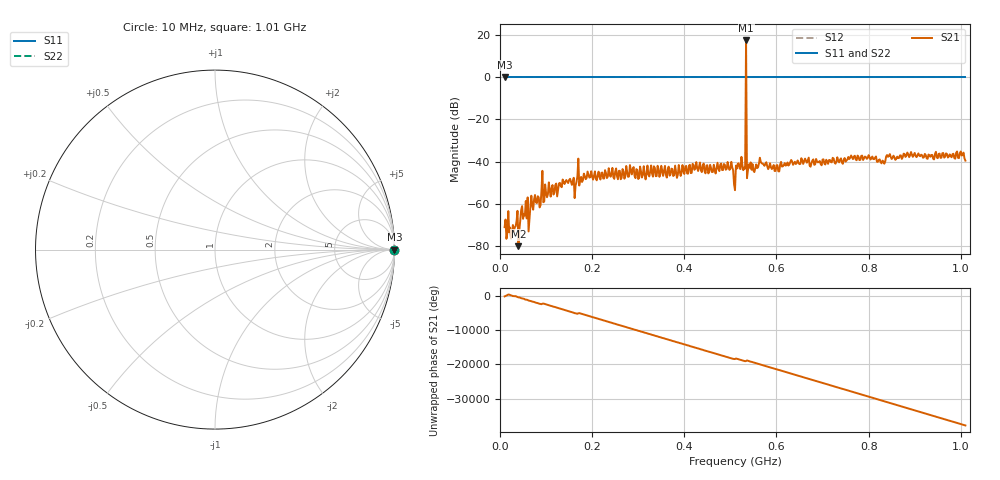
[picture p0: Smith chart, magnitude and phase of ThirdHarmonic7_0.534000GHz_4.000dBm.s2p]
! 8/17/2025 3:57:27 PM
! C:\ANRITSUVNA\TEMP\TEMP.S2P
! CHANNEL.1
! TR.MEASUREMENT
! RAW.DATA
! RF.CORRECTION.OFF
! AVERAGING.OFF
! IF.BANDWIDTH: 5KHZ
! SWEEPTYPE:  FREQ.SWEEP(Linear)
! Reference Plane Port Info
! PORT:  PORT1  PORT2
! DISTANCE:  0  m  0  m
! TIME:  0  s  0  s
! PHASE.OFFSET:  0  deg.  0  deg.
! LOSS:  0  dB  0  dB
! REF.LOSS:  0  dB  0  dB
! REF.FREQ:  0  Hz  0  Hz
! Power Info
! POWER:  -20  dBm  -20  dBm
! EFF.POWER:  -20  dBm  -20  dBm
! SOURCE.ATTEN:  0  dB  0  dB
! TEST.ATTEN:  0  dB  0  dB
# GHZ S RI R 50.0
! FREQ.GHZ  S11RE  S11IM  S21RE  S21IM  S12RE  S12IM  S22RE  S22IM
!; PortSelection: Port_12
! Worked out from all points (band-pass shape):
!   501 points, 10 MHz to 1.01 GHz, reference 50 ohm
!   highest |S21| = 17.23 dB at 534 MHz (marker M1); lowest = -79.9 dB at 40 MHz (marker M2)
!   |S21| within 3 dB of the highest: 533.9009 MHz to 534.0922 MHz (191.3 kHz wide, 0.0358 % of centre)
!   lowest |S11| = 0.0 dB at 10 MHz (marker M3)
!   |S11| at or under -10 dB: nowhere
!   |S22| runs from 0.0 to 0.0 dB; largest |S21 - S12| = 7.2
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0.01  1 0  0.000144 -0.000243  1 0  1 0
0.04  1 0  9.8e-05 2.31e-05  1 0  1 0
0.052  1 0  0.000495 -0.000306  1 0  1 0
0.062  1 0  -0.000221 3.91e-05  1 0  1 0
0.072  1 0  -0.000718 0.000143  1 0  1 0
0.084  1 0  0.00141 0.000233  1 0  1 0
0.094  1 0  0.00108 -0.000185  1 0  1 0
0.098  1 0  -0.00248 -0.00147  1 0  1 0
0.178  1 0  -0.00323 -0.000721  1 0  1 0
0.344  1 0  0.00643 -0.00223  1 0  1 0
0.498  1 0  0.00361 -0.00525  1 0  1 0
0.51  1 0  0.000628 -0.00202  1 0  1 0
0.516  1 0  0.00604 -0.00654  1 0  1 0
0.528  1 0  -0.00627 1.35e-05  1 0  1 0
0.53  1 0  -0.00253 0.00678  1 0  1 0
0.534  1 0  1.18 7.17  1 0  1 0
0.538  1 0  -0.00581 0.00221  1 0  1 0
0.54  1 0  0.00388 0.00768  1 0  1 0
0.678  1 0  0.00386 -0.00989  1 0  1 0
0.83  1 0  0.00638 -0.0084  1 0  1 0
0.844  1 0  -0.00498 0.0128  1 0  1 0
1.01  1 0  -0.000216 -0.0105  1 0  1 0
